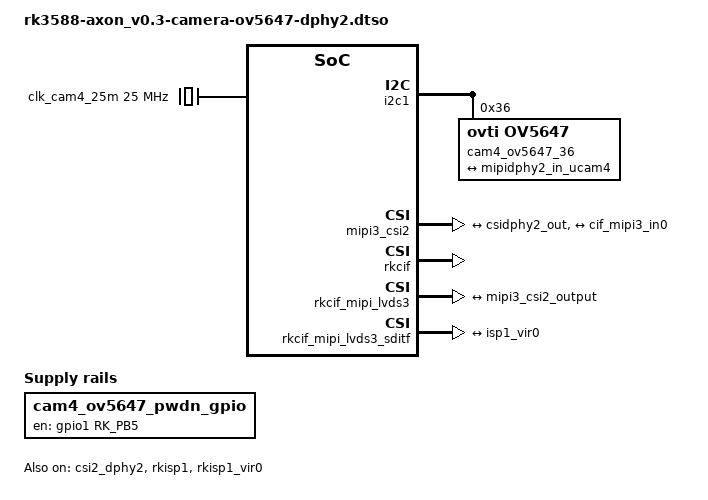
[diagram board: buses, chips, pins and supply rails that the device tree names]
// SPDX-License-Identifier: GPL-2.0+
// Copyright (C) 2024 Vicharak Computers PVT LTD

/dts-v1/;
/plugin/;

#include <dt-bindings/gpio/gpio.h>
#include <dt-bindings/pinctrl/rockchip.h>

&{/} {
    metadata {
        title = "Enable RasPi Camera V1.3 (OV5647) on CSI0 D2,3 dphy2 Axon V0.3";
        compatible = "vicharak,rk3588-axon", "rockchip,rk3588";
        category = "camera";
        exclusive = "ov5647_1_36", "csi2_dphy2", "mipi3_csi2", "rkcif_mipi_lvds3", "rkcif_mipi_lvds3_sditf", "rkisp1_vir0";
        description = "Enables OV5647 based RaspberryPi Camera V1.3 on\nVicharak Axon at I2C 3 bus address 36 on dphy2";
    };

    cam4_ov5647_pwdn_gpio: cam4-pwdn-gpio {
         status = "okay";
         compatible = "regulator-fixed";
         regulator-name = "cam4_pwdn_gpio";
         regulator-always-on;
         regulator-boot-on;
         enable-active-high;
         gpio = <&gpio1 RK_PB5 GPIO_ACTIVE_HIGH>;
         pinctrl-names = "default";
         pinctrl-0 = <&cam4_pwdn_gpio>;
    };

    clk_cam4_25m: external-cam4-clock-25m {
         status = "okay";
         compatible = "fixed-clock";
         clock-frequency = <25000000>;
         clock-output-names = "clk_cam4_25m";
         #clock-cells = <0>;
    };

};

&i2c1 {
         status = "okay";
		 #address-cells = <1>;
		 #size-cells = <0>;
         cam4_ov5647_36: cam4-ov5647@36 {
                 status = "okay";
		 compatible = "ovti,ov5647";
		 reg = <0x36>;
 
                 clocks = <&clk_cam4_25m>;
                 clock-names = "xvclk";
 
                 rockchip,camera-module-index = <0>;
                 rockchip,camera-module-facing = "back";
                 rockchip,camera-module-name = "rpi-camera-v1";
                 rockchip,camera-module-lens-name = "default";
 
                 port {
                         cam4_ov5647_out0: endpoint {
                                 remote-endpoint = <&mipidphy2_in_ucam4>;
                                 data-lanes = <3 4>;
                         };
                 };
         };
 };

&csi2_dphy2 {
        status = "okay";

        ports {
                #address-cells = <1>;
                #size-cells = <0>;

                port@0 {
                        reg = <0>;
                        #address-cells = <1>;
                        #size-cells = <0>;

                        mipidphy2_in_ucam4: endpoint@1 {
                                reg = <1>;
                                remote-endpoint = <&cam4_ov5647_out0>;
                                data-lanes = <3 4>;
                        };

                };

                port@1 {
                        reg = <1>;
                        #address-cells = <1>;
                        #size-cells = <0>;

                        csidphy2_out: endpoint@0 {
                                reg = <0>;
                                remote-endpoint = <&mipi3_csi2_input>;
                        };
                };
        };
};

&mipi3_csi2 {
        status = "okay";

        ports {
                #address-cells = <1>;
                #size-cells = <0>;

                port@0 {
                        reg = <0>;
                        #address-cells = <1>;
                        #size-cells = <0>;

                        mipi3_csi2_input: endpoint@1 {
                                reg = <1>;
                                remote-endpoint = <&csidphy2_out>;
                        };
                };

                port@1 {
                        reg = <1>;
                        #address-cells = <1>;
                        #size-cells = <0>;

                        mipi3_csi2_output: endpoint@0 {
                                reg = <0>;
                                remote-endpoint = <&cif_mipi3_in0>;
                        };
                };
        };
};

&rkcif {
        status = "okay";
};

&rkcif_mipi_lvds3 {
        status = "okay";

        port {
                cif_mipi3_in0: endpoint {
                        remote-endpoint = <&mipi3_csi2_output>;
                };
        };
};

&rkcif_mipi_lvds3_sditf {
        status = "okay";

        port {
                mipi_lvds3_sditf: endpoint {
                        remote-endpoint = <&isp1_vir0>;
                };
        };
};

&rkcif_mmu {
        status = "okay";
};

&rkisp1 {
        status = "okay";
};

&isp1_mmu {
        status = "okay";
};

&rkisp1_vir0 {
        status = "okay";

        port {
                #address-cells = <1>;
                #size-cells = <0>;

                isp1_vir0: endpoint@0 {
                        reg = <0>;
                        remote-endpoint = <&mipi_lvds3_sditf>;
                };
        };
};

&pinctrl {
        camera {
                cam4_pwdn_gpio: cam4-pwdn-gpio {
                        rockchip,pins = <1 RK_PB5 RK_FUNC_GPIO &pcfg_pull_up>;
                };
        };
};
